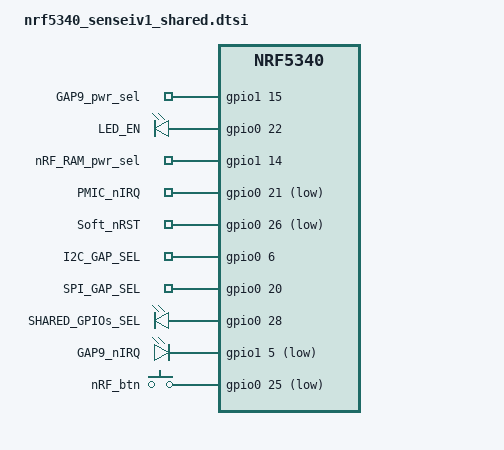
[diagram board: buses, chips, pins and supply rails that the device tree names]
// Copyright (c) 2025 ETH Zurich and University of Bologna
// SPDX-License-Identifier: Apache-2.0

#include <zephyr/dt-bindings/input/input-event-codes.h>

/ {
	sensei_pwr: sensei_pwr {
		compatible = "gpio-leds";
		gpio_gap9_pwr: gpio_gap9_pwr {
			gpios = <&gpio1 15 GPIO_ACTIVE_HIGH>;
			label = "GAP9_pwr_sel";
		};
		gpio_led_pwr: gpio_led_pwr {
			gpios = <&gpio0 22 GPIO_ACTIVE_HIGH>;
			label = "LED_EN";
		};
		gpio_ram_pwr: gpio_ram_pwr {
			gpios = <&gpio1 14 GPIO_ACTIVE_HIGH>;
			label = "nRF_RAM_pwr_sel";
		};
	};
	sensei_irq: sensei_irq {
		compatible = "gpio-keys";
		debounce-interval-ms = <0>;
		gpio_pmic_irq: gpio_pmic_irq {
			gpios = <&gpio0 21 GPIO_ACTIVE_LOW>;
			label = "PMIC_nIRQ";
		};
		gpio_soft_nrst: gpio_soft_nrst {
			gpios = <&gpio0 26 GPIO_ACTIVE_LOW>;
			label = "Soft_nRST";
		};
	};
	sensei_comm: sensei_comm {
		compatible = "gpio-leds";
		gpio_gap9_i2c_ctrl: gpio_gap9_i2c_ctrl {
			gpios = <&gpio0 6 GPIO_ACTIVE_HIGH>;
			label = "I2C_GAP_SEL";
		};
		gpio_gap9_spi_ctrl: gpio_gap9_spi_ctrl {
			gpios = <&gpio0 20 GPIO_ACTIVE_HIGH>;
			label = "SPI_GAP_SEL";
		};
		gpio_gap9_shared_ctrl: gpio_gap9_shared_ctrl {
			gpios = <&gpio0 28 GPIO_ACTIVE_HIGH>;
			label = "SHARED_GPIOs_SEL";
		};
		gpio_gap9_irq: gpio_gap9_irq {
			gpios = <&gpio1 5 (GPIO_ACTIVE_LOW | GPIO_PULL_UP)>;
			label = "GAP9_nIRQ";
		};
	};

	rtt0: rtt_chan0 {
		compatible = "segger,rtt-uart";
	};

	buttons {
		compatible = "gpio-keys";
		button0: button0 {
			label = "nRF_btn";
			gpios = <&gpio0 25 GPIO_ACTIVE_LOW>;
		};
	};


	aliases {
		mcuboot-button0 = &button0;
		watchdog0 = &wdt0;
	};
};

/* Default shared SRAM planning when building for nRF5340.
 * This file is included by both nRF5340 CPUAPP (Application MCU)
 * and nRF5340 CPUNET (Network MCU).
 * - 64 kB SRAM allocated as Shared memory (sram0_shared)
 * - Region defined after the image SRAM of Application MCU
 */

 / {
	chosen {
		/* shared memory reserved for the inter-processor communication */
		zephyr,ipc_shm = &sram0_shared;
	};

	reserved-memory {
		#address-cells = <1>;
		#size-cells = <1>;
		ranges;

		sram0_shared: memory@20070000 {
			/* SRAM allocated to shared memory */
			reg = <0x20070000 0x10000>;
		};
	};
};
